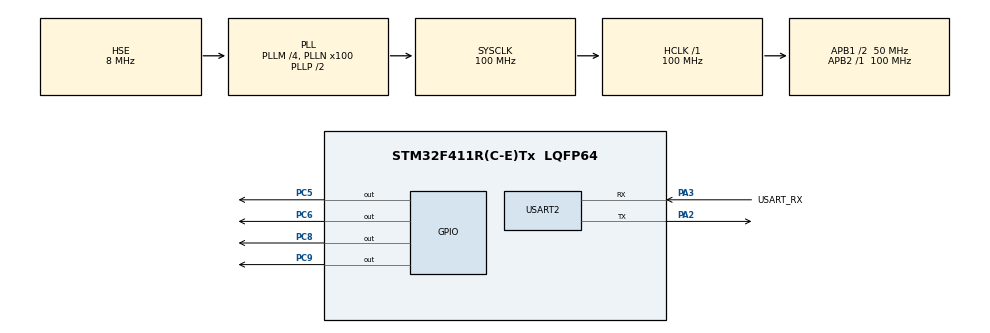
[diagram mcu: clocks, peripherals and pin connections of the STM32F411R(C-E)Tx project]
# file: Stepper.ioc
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Mcu.Family=STM32F4
Mcu.Name=STM32F411R(C-E)Tx
Mcu.Package=LQFP64
NVIC.PriorityGroup=NVIC_PRIORITYGROUP_0
NVIC.USART2_IRQn=true\:0\:0\:false\:false\:true\:true\:true\:true
PA13.GPIO_Label=TMS
PA13.Mode=Serial_Wire
PA13.Signal=SYS_JTMS-SWDIO
PA14.GPIO_Label=TCK
PA14.Mode=Serial_Wire
PA14.Signal=SYS_JTCK-SWCLK
PA2.Mode=Asynchronous
PA2.Signal=USART2_TX
PA3.GPIO_Label=USART_RX
PA3.Mode=Asynchronous
PA3.Signal=USART2_RX
PC5.PinState=GPIO_PIN_SET
PC5.Signal=GPIO_Output
PC6.PinState=GPIO_PIN_SET
PC6.Signal=GPIO_Output
PC8.PinState=GPIO_PIN_SET
PC8.Signal=GPIO_Output
PC9.PinState=GPIO_PIN_SET
PC9.Signal=GPIO_Output
PH0\ -\ OSC_IN.Mode=HSE-External-Clock-Source
PH0\ -\ OSC_IN.Signal=RCC_OSC_IN
PH1\ -\ OSC_OUT.Mode=HSE-External-Clock-Source
PH1\ -\ OSC_OUT.Signal=RCC_OSC_OUT
ProjectManager.HeapSize=0x200
ProjectManager.StackSize=0x400
ProjectManager.TargetToolchain=STM32CubeIDE
RCC.48MHZClocksFreq_Value=50000000
RCC.AHBFreq_Value=100000000
RCC.APB1CLKDivider=RCC_HCLK_DIV2
RCC.APB1Freq_Value=50000000
RCC.APB1TimFreq_Value=100000000
RCC.APB2Freq_Value=100000000
RCC.APB2TimFreq_Value=100000000
RCC.CortexFreq_Value=100000000
RCC.FLatency-AdvancedSettings=FLASH_LATENCY_3
RCC.HCLKFreq_Value=100000000
RCC.HSE_VALUE=8000000
RCC.HSI_VALUE=16000000
RCC.LSE_VALUE=32768
RCC.PLLM=4
RCC.PLLN=100
RCC.PLLSourceVirtual=RCC_PLLSOURCE_HSE
RCC.SYSCLKFreq_VALUE=100000000
RCC.SYSCLKSource=RCC_SYSCLKSOURCE_PLLCLK
RCC.VCOOutputFreq_Value=200000000
TIM10.Prescaler=99
TIM11.Prescaler=99
USART2.VirtualMode=VM_ASYNC
VP_TIM10_VS_ClockSourceINT.Mode=Enable_Timer
VP_TIM11_VS_ClockSourceINT.Mode=Enable_Timer
board=NUCLEO-F411RE

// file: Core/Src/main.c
/* USER CODE BEGIN Header */
/**
  ******************************************************************************
  * @file           : main.c
  * @brief          : Main program body
  ******************************************************************************
  * @attention
  *
  * Copyright (c) 2024 STMicroelectronics.
  * All rights reserved.
  *
  * This software is licensed under terms that can be found in the LICENSE file
  * in the root directory of this software component.
  * If no LICENSE file comes with this software, it is provided AS-IS.
  *
  ******************************************************************************
  */
/* USER CODE END Header */
#include "main.h"
#include "tim.h"
#include "usart.h"
#include "gpio.h"

/* USER CODE BEGIN Includes */
#include <stdio.h>
#include <stdlib.h>
#include "stepper.h"
/* USER CODE END Includes */

/* USER CODE BEGIN PV */
char buffer[10];
uint8_t buffer_index = 0;
uint8_t rxData;
uint16_t value;

/* USER CODE END PV */

void SystemClock_Config(void);
/* USER CODE BEGIN PFP */

void HAL_UART_RxCpltCallback(UART_HandleTypeDef *huart){
    if(huart->Instance == USART2){
    	buffer[buffer_index++] = rxData;

        if(rxData == '\n'){
        	buffer[buffer_index] = '\0';
        	buffer_index = 0;

            if(buffer[0] == 'r'){
                value = atoi(&buffer[2]);
                rotateDegrees(value, DIR_CW);
            }
            else if(buffer[0] == 'l'){
                value = atoi(&buffer[2]);
                rotateDegrees(value, DIR_CCW);
            }
        }
        HAL_UART_Receive_IT(&huart2, &rxData, sizeof(rxData));
    }
}

/* USER CODE END PFP */

int main(void)
{

  /* MCU Configuration--------------------------------------------------------*/

  /* Reset of all peripherals, Initializes the Flash interface and the Systick. */
  HAL_Init();

  /* Configure the system clock */
  SystemClock_Config();

  /* Initialize all configured peripherals */
  MX_GPIO_Init();
  MX_USART2_UART_Init();
  MX_TIM10_Init();
  MX_TIM11_Init();
  /* USER CODE BEGIN 2 */
  HAL_UART_Receive_IT(&huart2, &rxData, sizeof(rxData));
//  rotateDegrees(360, DIR_CW);
  /* USER CODE END 2 */

  /* Infinite loop */
  while (1)
  {

  }
}

void SystemClock_Config(void)
{
  RCC_OscInitTypeDef RCC_OscInitStruct = {0};
  RCC_ClkInitTypeDef RCC_ClkInitStruct = {0};

  /** Configure the main internal regulator output voltage
  */
  __HAL_RCC_PWR_CLK_ENABLE();
  __HAL_PWR_VOLTAGESCALING_CONFIG(PWR_REGULATOR_VOLTAGE_SCALE1);

  /** Initializes the RCC Oscillators according to the specified parameters
  * in the RCC_OscInitTypeDef structure.
  */
  RCC_OscInitStruct.OscillatorType = RCC_OSCILLATORTYPE_HSE;
  RCC_OscInitStruct.HSEState = RCC_HSE_BYPASS;
  RCC_OscInitStruct.PLL.PLLState = RCC_PLL_ON;
  RCC_OscInitStruct.PLL.PLLSource = RCC_PLLSOURCE_HSE;
  RCC_OscInitStruct.PLL.PLLM = 4;
  RCC_OscInitStruct.PLL.PLLN = 100;
  RCC_OscInitStruct.PLL.PLLP = RCC_PLLP_DIV2;
  RCC_OscInitStruct.PLL.PLLQ = 4;
  if (HAL_RCC_OscConfig(&RCC_OscInitStruct) != HAL_OK)
  {
    Error_Handler();
  }

  /** Initializes the CPU, AHB and APB buses clocks
  */
  RCC_ClkInitStruct.ClockType = RCC_CLOCKTYPE_HCLK|RCC_CLOCKTYPE_SYSCLK
                              |RCC_CLOCKTYPE_PCLK1|RCC_CLOCKTYPE_PCLK2;
  RCC_ClkInitStruct.SYSCLKSource = RCC_SYSCLKSOURCE_PLLCLK;
  RCC_ClkInitStruct.AHBCLKDivider = RCC_SYSCLK_DIV1;
  RCC_ClkInitStruct.APB1CLKDivider = RCC_HCLK_DIV2;
  RCC_ClkInitStruct.APB2CLKDivider = RCC_HCLK_DIV1;

  if (HAL_RCC_ClockConfig(&RCC_ClkInitStruct, FLASH_LATENCY_3) != HAL_OK)
  {
    Error_Handler();
  }
}

void Error_Handler(void)
{
  __disable_irq();
  while (1)
  {
  }
}
